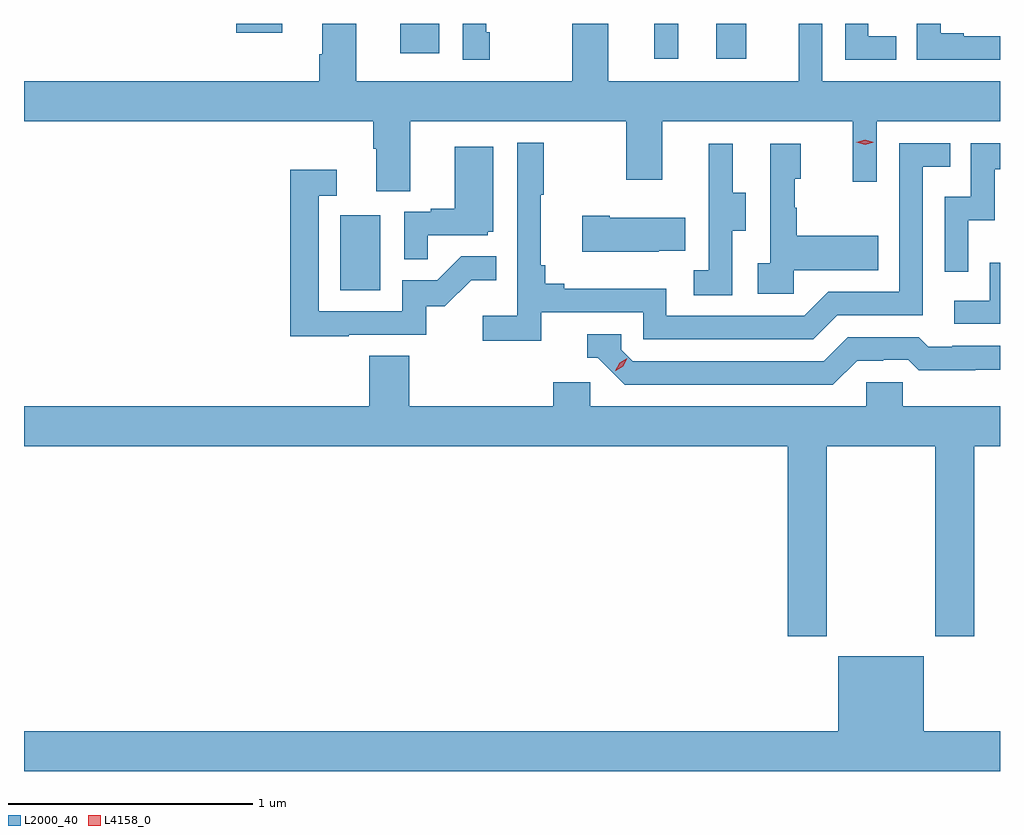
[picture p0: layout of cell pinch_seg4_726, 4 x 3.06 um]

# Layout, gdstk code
import gdstk
lib = gdstk.Library(unit=1e-6, precision=1e-09)
def R(c, l, rs):  # rectangles x0, y0, x1, y1
    for r in rs: c.add(gdstk.rectangle(r[:2], r[2:], *l))
def P(c, l, *ps):  # polygons
    for p in ps: c.add(gdstk.Polygon(p, *l))
L2000_40 = (2000, 40)
L4158_0 = (4158, 0)

pinch_seg4_726 = lib.new_cell('pinch_seg4_726')
R(pinch_seg4_726, L2000_40, [(830.432,818.772,830.596,819.079), (831.719,819.72,831.817,819.865), (830.678,819.744,830.836,819.865), (830.005,819.828,830.194,819.865)])
P(pinch_seg4_726, L2000_40, [(833.135,819.813),(832.987,819.813),(832.987,819.826),(832.892,819.826),(832.892,819.865),(832.794,819.865),(832.794,819.717),(833.135,819.717)],
  [(830.719,819.464),(831.604,819.464),(831.604,819.225),(831.751,819.225),(831.751,819.464),(832.532,819.464),(832.532,819.216),(832.629,819.216),(832.629,819.464),(833.135,819.464),(833.135,819.628),(832.407,819.628),(832.407,819.865),(832.31,819.865),(832.31,819.628),(831.529,819.628),(831.529,819.865),(831.382,819.865),(831.382,819.628),(830.497,819.628),(830.497,819.865),(830.357,819.865),(830.357,819.74),(830.345,819.74),(830.345,819.628),(829.135,819.628),(829.135,819.464),(830.567,819.464),(830.567,819.352),(830.579,819.352),(830.579,819.178),(830.719,819.178)],
  [(832.096,819.864),(832.071,819.864),(832.071,819.865),(831.972,819.865),(831.972,819.72),(832.096,819.72)],
  [(832.709,819.813),(832.596,819.813),(832.596,819.865),(832.5,819.865),(832.5,819.717),(832.709,819.717)],
  [(831.043,819.829),(831.03,819.829),(831.03,819.865),(830.934,819.865),(830.934,819.717),(831.043,819.717)],
  [(831.254,818.682),(831.672,818.682),(831.672,818.571),(832.369,818.571),(832.468,818.67),(832.818,818.67),(832.818,819.279),(832.931,819.279),(832.931,819.375),(832.722,819.375),(832.722,818.766),(832.431,818.766),(832.332,818.667),(831.768,818.667),(831.768,818.779),(831.349,818.779),(831.349,818.798),(831.272,818.798),(831.272,818.875),(831.253,818.875),(831.253,819.163),(831.265,819.163),(831.265,819.376),(831.156,819.376),(831.156,818.668),(831.015,818.668),(831.015,818.566),(831.254,818.566)],
  [(833.004,819.059),(833.114,819.059),(833.114,819.267),(833.135,819.267),(833.135,819.375),(833.016,819.375),(833.016,819.156),(832.908,819.156),(832.908,818.847),(833.004,818.847)],
  [(832.29,818.855),(832.637,818.855),(832.637,818.995),(832.303,818.995),(832.303,819.11),(832.293,819.11),(832.293,819.228),(832.318,819.228),(832.318,819.373),(832.194,819.373),(832.194,818.882),(832.143,818.882),(832.143,818.757),(832.29,818.757)],
  [(832.038,819.016),(832.093,819.016),(832.093,819.171),(832.039,819.171),(832.039,819.373),(831.941,819.373),(831.941,819.159),(831.942,819.159),(831.942,818.855),(831.879,818.855),(831.879,818.752),(832.038,818.752)],
  [(830.789,818.997),(831.036,818.997),(831.036,819.012),(831.058,819.012),(831.058,819.361),(830.9,819.361),(830.9,819.106),(830.801,819.106),(830.801,819.093),(830.694,819.093),(830.694,818.899),(830.789,818.899)],
  [(830.465,818.589),(830.784,818.589),(830.784,818.706),(830.86,818.706),(830.967,818.813),(831.071,818.813),(831.071,818.912),(830.927,818.912),(830.829,818.814),(830.685,818.814),(830.685,818.685),(830.343,818.685),(830.343,819.159),(830.416,819.159),(830.416,819.265),(830.227,819.265),(830.227,818.584),(830.465,818.584)],
  [(831.737,818.933),(831.845,818.933),(831.845,819.07),(831.535,819.07),(831.535,819.078),(831.423,819.078),(831.423,818.93),(831.737,818.93)],
  [(833.135,818.884),(833.094,818.884),(833.094,818.73),(832.947,818.73),(832.947,818.634),(833.135,818.634)],
  [(832.549,818.484),(832.656,818.484),(832.656,818.487),(832.759,818.487),(832.801,818.445),(833.034,818.445),(833.034,818.447),(833.135,818.447),(833.135,818.544),(832.939,818.544),(832.939,818.541),(832.84,818.541),(832.801,818.58),(832.512,818.58),(832.413,818.481),(831.63,818.481),(831.582,818.529),(831.582,818.592),(831.443,818.592),(831.443,818.496),(831.486,818.496),(831.597,818.385),(832.45,818.385)],
  [(832.425,818.132),(832.87,818.132),(832.87,817.353),(833.03,817.353),(833.03,818.132),(833.135,818.132),(833.135,818.296),(832.737,818.296),(832.737,818.394),(832.587,818.394),(832.587,818.296),(831.456,818.296),(831.456,818.394),(831.305,818.394),(831.305,818.296),(830.714,818.296),(830.714,818.504),(830.549,818.504),(830.549,818.296),(829.135,818.296),(829.135,818.132),(832.265,818.132),(832.265,817.353),(832.425,817.353)],
  [(833.135,816.964),(832.822,816.964),(832.822,817.273),(832.472,817.273),(832.472,816.964),(829.135,816.964),(829.135,816.8),(833.135,816.8)])
P(pinch_seg4_726, L4158_0, [(832.582,819.368),(832.546,819.378),(832.546,819.378),(832.546,819.379),(832.582,819.388),(832.617,819.379),(832.617,819.378),(832.617,819.378)],
  [(831.559,818.442),(831.559,818.443),(831.576,818.475),(831.607,818.494),(831.607,818.494),(831.607,818.494),(831.591,818.461),(831.56,818.442)])

lib.write_gds('pinch_seg4_726.gds')
